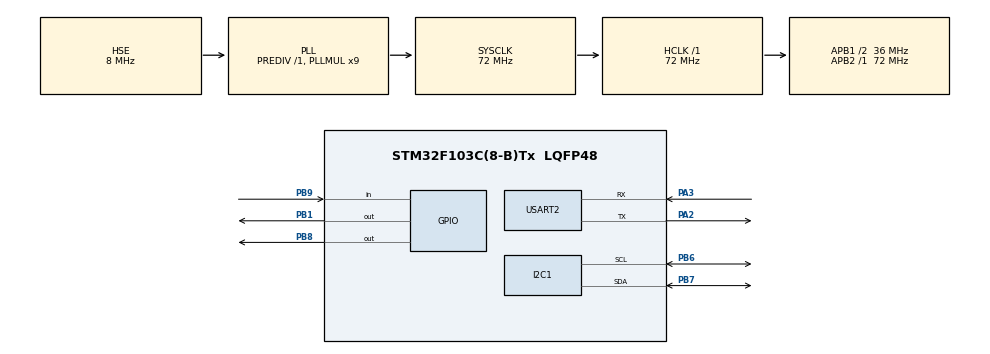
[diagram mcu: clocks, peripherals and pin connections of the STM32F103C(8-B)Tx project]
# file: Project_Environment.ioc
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FREERTOS.Queues01=myQueue01,16,uint32_t,0,Dynamic,NULL,NULL
FREERTOS.Tasks01=Task01,0,128,StartTask_DHT11,Default,NULL,Dynamic,NULL,NULL;Task02,-3,128,StartTask_HSCR05,Default,NULL,Dynamic,NULL,NULL;Task03,-3,128,StartTask_LCD,Default,NULL,Dynamic,NULL,NULL
FREERTOS.configUSE_NEWLIB_REENTRANT=1
Mcu.Family=STM32F1
Mcu.Name=STM32F103C(8-B)Tx
Mcu.Package=LQFP48
NVIC.PriorityGroup=NVIC_PRIORITYGROUP_4
NVIC.TIM4_IRQn=true\:15\:0\:false\:false\:true\:false\:false\:true\:true
NVIC.TimeBase=TIM4_IRQn
NVIC.TimeBaseIP=TIM4
PA13.Mode=Serial_Wire
PA13.Signal=SYS_JTMS-SWDIO
PA14.Mode=Serial_Wire
PA14.Signal=SYS_JTCK-SWCLK
PA2.Mode=Asynchronous
PA2.Signal=USART2_TX
PA3.Mode=Asynchronous
PA3.Signal=USART2_RX
PB1.Signal=GPIO_Output
PB6.Mode=I2C
PB6.Signal=I2C1_SCL
PB7.Mode=I2C
PB7.Signal=I2C1_SDA
PB8.Signal=GPIO_Output
PB9.Signal=GPIO_Input
PD0-OSC_IN.Mode=HSE-External-Oscillator
PD0-OSC_IN.Signal=RCC_OSC_IN
PD1-OSC_OUT.Mode=HSE-External-Oscillator
PD1-OSC_OUT.Signal=RCC_OSC_OUT
ProjectManager.HeapSize=0x200
ProjectManager.StackSize=0x400
ProjectManager.TargetToolchain=STM32CubeIDE
RCC.AHBFreq_Value=72000000
RCC.APB1CLKDivider=RCC_HCLK_DIV2
RCC.APB1Freq_Value=36000000
RCC.APB1TimFreq_Value=72000000
RCC.APB2Freq_Value=72000000
RCC.APB2TimFreq_Value=72000000
RCC.HCLKFreq_Value=72000000
RCC.PLLMUL=RCC_PLL_MUL9
RCC.PLLSourceVirtual=RCC_PLLSOURCE_HSE
RCC.SYSCLKFreq_VALUE=72000000
RCC.SYSCLKSource=RCC_SYSCLKSOURCE_PLLCLK
RCC.USBFreq_Value=72000000
TIM2.Prescaler=71
TIM3.Prescaler=71
USART2.VirtualMode=VM_ASYNC
VP_FREERTOS_VS_CMSIS_V1.Mode=CMSIS_V1
VP_SYS_VS_tim4.Mode=TIM4
VP_TIM2_VS_ClockSourceINT.Mode=Internal
VP_TIM3_VS_ClockSourceINT.Mode=Internal
board=custom

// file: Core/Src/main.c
/* USER CODE BEGIN Header */
//  LCD I2C PB7->SDA, PB6->SCL
//  UART2 PA2->TX, PA3->RX
//  TIM2 -> DHT11
//  TIM3 -> HCSR05 -> PA8->TRG, PA9->ECHO
/**
  ******************************************************************************
  * @file           : main.c
  * @brief          : Main program body
  ******************************************************************************
  * @attention
  *
  * Copyright (c) 2026 STMicroelectronics.
  * All rights reserved.
  *
  * This software is licensed under terms that can be found in the LICENSE file
  * in the root directory of this software component.
  * If no LICENSE file comes with this software, it is provided AS-IS.
  *
  ******************************************************************************
  */
/* USER CODE END Header */
#include "main.h"
#include "cmsis_os.h"

/* USER CODE BEGIN Includes */
#include "stdarg.h"
#include "string.h"
#include "stdio.h"
#include "HSCR05.h"
#include "DHT11.h"
#include "LCD.h"
/* USER CODE END Includes */

I2C_HandleTypeDef hi2c1;

TIM_HandleTypeDef htim2;
TIM_HandleTypeDef htim3;

UART_HandleTypeDef huart2;
osThreadId Task01Handle;
osThreadId Task02Handle;
osThreadId Task03Handle;
osMessageQId myQueue01Handle;
/* USER CODE BEGIN PV */
osMutexId uartMutexHandle;
/* USER CODE END PV */

void SystemClock_Config(void);
static void MX_GPIO_Init(void);
static void MX_I2C1_Init(void);
static void MX_TIM2_Init(void);
static void MX_TIM3_Init(void);
static void MX_USART2_UART_Init(void);
void StartTask_DHT11(void const * argument);
void StartTask_HSCR05(void const * argument);
void StartTask_LCD(void const * argument);

/* USER CODE BEGIN PFP */
typedef enum {
	Data_DHT11,
	Data_HSCR05
}Datatype_t;

typedef struct{
	Datatype_t type;
	int temperature;
	int humidity;
	float distance;
}SensorMessage_t;

char buff[128];
void mPrint(const char *str, ...)
{
	osMutexWait(uartMutexHandle, osWaitForever);
	va_list ptr;
	va_start(ptr, str);
	vsniprintf(buff, sizeof(buff), str, ptr);
	va_end(ptr);
	HAL_UART_Transmit(&huart2, (uint8_t*) buff, strlen(buff), 100);
	memset(buff, 0, sizeof(buff));
	osMutexRelease(uartMutexHandle);
}
/* USER CODE END PFP */

int main(void)
{

  /* MCU Configuration--------------------------------------------------------*/

  /* Reset of all peripherals, Initializes the Flash interface and the Systick. */
  HAL_Init();

  /* Configure the system clock */
  SystemClock_Config();

  /* Initialize all configured peripherals */
  MX_GPIO_Init();
  MX_I2C1_Init();
  MX_TIM2_Init();
  MX_TIM3_Init();
  MX_USART2_UART_Init();
  /* USER CODE BEGIN 2 */
  HAL_TIM_Base_Start(&htim2); // cho DHT11
  HAL_TIM_Base_Start(&htim3); // cho HSCR05
  /* USER CODE END 2 */

  /* USER CODE BEGIN RTOS_MUTEX */
  /* add mutexes, ... */
  osMutexDef(uartMutex);
  uartMutexHandle = osMutexCreate(osMutex(uartMutex));
  /* USER CODE END RTOS_MUTEX */

  /* Create the queue(s) */
  /* definition and creation of myQueue01 */
  osMessageQDef(myQueue01, 16, SensorMessage_t);
  myQueue01Handle = osMessageCreate(osMessageQ(myQueue01), NULL);

  /* Create the thread(s) */
  /* definition and creation of Task01 */

  /* definition and creation of Task02 */
  osThreadDef(Task02, StartTask_HSCR05, 2, 0, 128);
  Task02Handle = osThreadCreate(osThread(Task02), NULL);

  /* definition and creation of Task01 */
  osThreadDef(Task01, StartTask_DHT11, 3, 0, 128);
  Task01Handle = osThreadCreate(osThread(Task01), NULL);
  /* definition and creation of Task03 */
  osThreadDef(Task03, StartTask_LCD, 1, 0, 256);
  Task03Handle = osThreadCreate(osThread(Task03), NULL);

  /* Start scheduler */
  osKernelStart();

  /* We should never get here as control is now taken by the scheduler */

  /* Infinite loop */
  while (1)
  {

  }
}

void SystemClock_Config(void)
{
  RCC_OscInitTypeDef RCC_OscInitStruct = {0};
  RCC_ClkInitTypeDef RCC_ClkInitStruct = {0};

  /** Initializes the RCC Oscillators according to the specified parameters
  * in the RCC_OscInitTypeDef structure.
  */
  RCC_OscInitStruct.OscillatorType = RCC_OSCILLATORTYPE_HSE;
  RCC_OscInitStruct.HSEState = RCC_HSE_ON;
  RCC_OscInitStruct.HSEPredivValue = RCC_HSE_PREDIV_DIV1;
  RCC_OscInitStruct.HSIState = RCC_HSI_ON;
  RCC_OscInitStruct.PLL.PLLState = RCC_PLL_ON;
  RCC_OscInitStruct.PLL.PLLSource = RCC_PLLSOURCE_HSE;
  RCC_OscInitStruct.PLL.PLLMUL = RCC_PLL_MUL9;
  if (HAL_RCC_OscConfig(&RCC_OscInitStruct) != HAL_OK)
  {
    Error_Handler();
  }

  /** Initializes the CPU, AHB and APB buses clocks
  */
  RCC_ClkInitStruct.ClockType = RCC_CLOCKTYPE_HCLK|RCC_CLOCKTYPE_SYSCLK
                              |RCC_CLOCKTYPE_PCLK1|RCC_CLOCKTYPE_PCLK2;
  RCC_ClkInitStruct.SYSCLKSource = RCC_SYSCLKSOURCE_PLLCLK;
  RCC_ClkInitStruct.AHBCLKDivider = RCC_SYSCLK_DIV1;
  RCC_ClkInitStruct.APB1CLKDivider = RCC_HCLK_DIV2;
  RCC_ClkInitStruct.APB2CLKDivider = RCC_HCLK_DIV1;

  if (HAL_RCC_ClockConfig(&RCC_ClkInitStruct, FLASH_LATENCY_2) != HAL_OK)
  {
    Error_Handler();
  }
}

static void MX_I2C1_Init(void)
{

  hi2c1.Instance = I2C1;
  hi2c1.Init.ClockSpeed = 100000;
  hi2c1.Init.DutyCycle = I2C_DUTYCYCLE_2;
  hi2c1.Init.OwnAddress1 = 0;
  hi2c1.Init.AddressingMode = I2C_ADDRESSINGMODE_7BIT;
  hi2c1.Init.DualAddressMode = I2C_DUALADDRESS_DISABLE;
  hi2c1.Init.OwnAddress2 = 0;
  hi2c1.Init.GeneralCallMode = I2C_GENERALCALL_DISABLE;
  hi2c1.Init.NoStretchMode = I2C_NOSTRETCH_DISABLE;
  if (HAL_I2C_Init(&hi2c1) != HAL_OK)
  {
    Error_Handler();
  }

}

static void MX_TIM2_Init(void)
{

  TIM_ClockConfigTypeDef sClockSourceConfig = {0};
  TIM_MasterConfigTypeDef sMasterConfig = {0};

  htim2.Instance = TIM2;
  htim2.Init.Prescaler = 71;
  htim2.Init.CounterMode = TIM_COUNTERMODE_UP;
  htim2.Init.Period = 65535;
  htim2.Init.ClockDivision = TIM_CLOCKDIVISION_DIV1;
  htim2.Init.AutoReloadPreload = TIM_AUTORELOAD_PRELOAD_DISABLE;
  if (HAL_TIM_Base_Init(&htim2) != HAL_OK)
  {
    Error_Handler();
  }
  sClockSourceConfig.ClockSource = TIM_CLOCKSOURCE_INTERNAL;
  if (HAL_TIM_ConfigClockSource(&htim2, &sClockSourceConfig) != HAL_OK)
  {
    Error_Handler();
  }
  sMasterConfig.MasterOutputTrigger = TIM_TRGO_RESET;
  sMasterConfig.MasterSlaveMode = TIM_MASTERSLAVEMODE_DISABLE;
  if (HAL_TIMEx_MasterConfigSynchronization(&htim2, &sMasterConfig) != HAL_OK)
  {
    Error_Handler();
  }

}

static void MX_TIM3_Init(void)
{

  TIM_ClockConfigTypeDef sClockSourceConfig = {0};
  TIM_MasterConfigTypeDef sMasterConfig = {0};

  htim3.Instance = TIM3;
  htim3.Init.Prescaler = 71;
  htim3.Init.CounterMode = TIM_COUNTERMODE_UP;
  htim3.Init.Period = 65535;
  htim3.Init.ClockDivision = TIM_CLOCKDIVISION_DIV1;
  htim3.Init.AutoReloadPreload = TIM_AUTORELOAD_PRELOAD_DISABLE;
  if (HAL_TIM_Base_Init(&htim3) != HAL_OK)
  {
    Error_Handler();
  }
  sClockSourceConfig.ClockSource = TIM_CLOCKSOURCE_INTERNAL;
  if (HAL_TIM_ConfigClockSource(&htim3, &sClockSourceConfig) != HAL_OK)
  {
    Error_Handler();
  }
  sMasterConfig.MasterOutputTrigger = TIM_TRGO_RESET;
  sMasterConfig.MasterSlaveMode = TIM_MASTERSLAVEMODE_DISABLE;
  if (HAL_TIMEx_MasterConfigSynchronization(&htim3, &sMasterConfig) != HAL_OK)
  {
    Error_Handler();
  }

}

static void MX_USART2_UART_Init(void)
{

  huart2.Instance = USART2;
  huart2.Init.BaudRate = 115200;
  huart2.Init.WordLength = UART_WORDLENGTH_8B;
  huart2.Init.StopBits = UART_STOPBITS_1;
  huart2.Init.Parity = UART_PARITY_NONE;
  huart2.Init.Mode = UART_MODE_TX_RX;
  huart2.Init.HwFlowCtl = UART_HWCONTROL_NONE;
  huart2.Init.OverSampling = UART_OVERSAMPLING_16;
  if (HAL_UART_Init(&huart2) != HAL_OK)
  {
    Error_Handler();
  }

}

static void MX_GPIO_Init(void)
{
  GPIO_InitTypeDef GPIO_InitStruct = {0};

  /* GPIO Ports Clock Enable */
  __HAL_RCC_GPIOD_CLK_ENABLE();
  __HAL_RCC_GPIOA_CLK_ENABLE();
  __HAL_RCC_GPIOB_CLK_ENABLE();

  /*Configure GPIO pin Output Level */
  HAL_GPIO_WritePin(GPIOB, GPIO_PIN_1|GPIO_PIN_8, GPIO_PIN_RESET);

  /*Configure GPIO pins : PB1 PB8 */
  GPIO_InitStruct.Pin = GPIO_PIN_1|GPIO_PIN_8;
  GPIO_InitStruct.Mode = GPIO_MODE_OUTPUT_PP;
  GPIO_InitStruct.Pull = GPIO_NOPULL;
  GPIO_InitStruct.Speed = GPIO_SPEED_FREQ_LOW;
  HAL_GPIO_Init(GPIOB, &GPIO_InitStruct);

  /*Configure GPIO pin : PB9 */
  GPIO_InitStruct.Pin = GPIO_PIN_9;
  GPIO_InitStruct.Mode = GPIO_MODE_INPUT;
  GPIO_InitStruct.Pull = GPIO_NOPULL;
  HAL_GPIO_Init(GPIOB, &GPIO_InitStruct);

}

uint8_t test_t, test_RH;
void StartTask_DHT11(void const * argument)
{
  /* USER CODE BEGIN 5 */
  /* Infinite loop */
	static SensorMessage_t msg_DHT;
	msg_DHT.type = Data_DHT11;
  for(;;)
  {
	TemRH_t data = DHT11_Handle();
	mPrint("DHT11 is running ... \n");
	msg_DHT.temperature = data.Tem;
	test_t = data.Tem;
	msg_DHT.humidity    = data.RH;
	test_RH = data.RH;
	osMessagePut(myQueue01Handle,(uint32_t)&msg_DHT, 100);
    osDelay(2000);
  }
  /* USER CODE END 5 */
}

float test;
void StartTask_HSCR05(void const * argument)
{
  /* USER CODE BEGIN StartTask_HSCR05 */
  /* Infinite loop */
  static SensorMessage_t msg_HSCR;
  msg_HSCR.type = Data_HSCR05;
  for(;;)
  {
	msg_HSCR.distance = Read_HSCR05();
	mPrint("HSCR05 is running ... \n");
	test = msg_HSCR.distance;
	if(msg_HSCR.distance >=2 && msg_HSCR.distance <=450)
	{
		osMessagePut(myQueue01Handle,(uint32_t)&msg_HSCR, 100);
	}else
	{
		msg_HSCR.distance = (float)-1;
		osMessagePut(myQueue01Handle,(uint32_t)&msg_HSCR, 100);
	}

    osDelay(1000);
  }
  /* USER CODE END StartTask_HSCR05 */
}

void StartTask_LCD(void const * argument)
{
  /* USER CODE BEGIN StartTask_LCD */
  /* Infinite loop */
  osEvent Data_Sensor;
  char LCD_buff[20];
  LCD_Init();
  mPrint("LCD Init Done \n");
  for(;;)
  {
	Data_Sensor = osMessageGet(myQueue01Handle, osWaitForever);
	mPrint("LCD is running ... \n");
	SensorMessage_t *Pmsg = (SensorMessage_t *) Data_Sensor.value.p;
    if (Pmsg->type ==  Data_DHT11)
    {
    	LCD_Row_3;
    	sprintf(LCD_buff, "Temp: %d \xDF""C ",Pmsg->temperature);
    	Send_String(LCD_buff);
    	memset(LCD_buff, 0, sizeof(LCD_buff));
    	LCD_Row_4;
    	sprintf(LCD_buff, "Hump: %d %% ",Pmsg->humidity);
    	Send_String(LCD_buff);
    	memset(LCD_buff, 0, sizeof(LCD_buff));
    }
    else if (Pmsg->type == Data_HSCR05)
    {
    	LCD_Row_2;
    	sprintf(LCD_buff, "Dist: %.2f cm",Pmsg->distance);
    	Send_String(LCD_buff);
    	memset(LCD_buff, 0, sizeof(LCD_buff));
    }
  }
  /* USER CODE END StartTask_LCD */
}

void HAL_TIM_PeriodElapsedCallback(TIM_HandleTypeDef *htim)
{
  if (htim->Instance == TIM4)
  {
    HAL_IncTick();
  }
}

void Error_Handler(void)
{
  __disable_irq();
  while (1)
  {
  }
}
